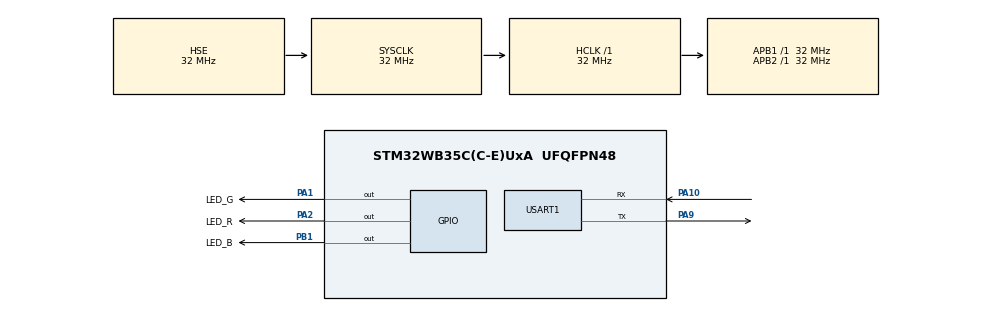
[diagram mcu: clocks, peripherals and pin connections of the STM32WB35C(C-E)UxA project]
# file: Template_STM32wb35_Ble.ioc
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Dma.Request0=USART1_TX
Dma.USART1_TX.0.Direction=DMA_MEMORY_TO_PERIPH
Dma.USART1_TX.0.EventEnable=DISABLE
Dma.USART1_TX.0.Instance=DMA1_Channel2
Dma.USART1_TX.0.MemDataAlignment=DMA_MDATAALIGN_BYTE
Dma.USART1_TX.0.MemInc=DMA_MINC_ENABLE
Dma.USART1_TX.0.Mode=DMA_NORMAL
Dma.USART1_TX.0.PeriphDataAlignment=DMA_PDATAALIGN_BYTE
Dma.USART1_TX.0.PeriphInc=DMA_PINC_DISABLE
Dma.USART1_TX.0.Polarity=HAL_DMAMUX_REQ_GEN_RISING
Dma.USART1_TX.0.Priority=DMA_PRIORITY_LOW
Dma.USART1_TX.0.RequestNumber=1
Dma.USART1_TX.0.SignalID=NONE
Dma.USART1_TX.0.SyncEnable=DISABLE
Dma.USART1_TX.0.SyncPolarity=HAL_DMAMUX_SYNC_NO_EVENT
Dma.USART1_TX.0.SyncRequestNumber=1
Dma.USART1_TX.0.SyncSignalID=NONE
Mcu.Family=STM32WB
Mcu.Name=STM32WB35C(C-E)UxA
Mcu.Package=UFQFPN48
NVIC.DMA1_Channel2_IRQn=true\:0\:0\:false\:false\:true\:false\:true
NVIC.HSEM_IRQn=true\:0\:0\:false\:false\:true\:false\:true
NVIC.PriorityGroup=NVIC_PRIORITYGROUP_4
NVIC.USART1_IRQn=true\:0\:0\:false\:false\:true\:true\:true
OSC_IN.Mode=HSE-External-Oscillator
OSC_IN.Signal=RCC_OSC_IN
OSC_OUT.Mode=HSE-External-Oscillator
OSC_OUT.Signal=RCC_OSC_OUT
PA1.GPIO_Label=LED_G
PA1.GPIO_PuPd=GPIO_PULLUP
PA1.Signal=GPIO_Output
PA10.Mode=Asynchronous
PA10.Signal=USART1_RX
PA13.Mode=Serial_Wire
PA13.Signal=SYS_JTMS-SWDIO
PA14.Mode=Serial_Wire
PA14.Signal=SYS_JTCK-SWCLK
PA2.GPIO_Label=LED_R
PA2.GPIO_PuPd=GPIO_PULLUP
PA2.Signal=GPIO_Output
PA9.Mode=Asynchronous
PA9.Signal=USART1_TX
PB1.GPIO_Label=LED_B
PB1.GPIO_PuPd=GPIO_PULLUP
PB1.Signal=GPIO_Output
PC14-OSC32_IN.Mode=LSE-External-Oscillator
PC14-OSC32_IN.Signal=RCC_OSC32_IN
PC15-OSC32_OUT.Mode=LSE-External-Oscillator
PC15-OSC32_OUT.Signal=RCC_OSC32_OUT
ProjectManager.HeapSize=0x200
ProjectManager.StackSize=0x400
ProjectManager.TargetToolchain=STM32CubeIDE
RCC.ADCFreq_Value=128000000
RCC.AHBFreq_Value=32000000
RCC.APB1Freq_Value=32000000
RCC.APB1TimFreq_Value=32000000
RCC.APB2Freq_Value=32000000
RCC.APB2TimFreq_Value=32000000
RCC.APB3Freq_Value=16000000
RCC.CortexFreq_Value=32000000
RCC.HCLKFreq_Value=32000000
RCC.HSE_VALUE=32000000
RCC.HSI48_VALUE=48000000
RCC.HSI_VALUE=16000000
RCC.MSIClockRange=RCC_MSIRANGE_10
RCC.PLLSourceVirtual=RCC_PLLSOURCE_HSE
RCC.RFWKPClockSelection=RCC_RFWKPCLKSOURCE_LSE
RCC.RTCClockSelection=RCC_RTCCLKSOURCE_LSE
RCC.SMPSCLockSelectionVirtual=RCC_SMPSCLKSOURCE_HSE
RCC.SYSCLKFreq_VALUE=32000000
RCC.SYSCLKSource=RCC_SYSCLKSOURCE_HSE
RCC.USBFreq_Value=128000000
RCC.VCOOutputFreq_Value=256000000
RF1.Mode=RF1_Activate
RF1.Signal=RF_RF1
STM32_WPAN.BLE_DBG_APP_EN=1
STM32_WPAN.BLE_DBG_P2P_STM_EN=1
STM32_WPAN.CFG_DEBUG_APP_TRACE=1
STM32_WPAN.CFG_DEBUG_BLE_TRACE=1
STM32_WPAN.CFG_DEBUG_TRACE_FULL=1
STM32_WPAN.CFG_DEBUG_TRACE_UART=hw_uart1
STM32_WPAN.CFG_HW_USART1_ENABLED=1
USART1.VirtualMode-Asynchronous=VM_ASYNC
VP_HSEM_VS_HSEM.Mode=HSEM_Activate
VP_RTC_VS_RTC_Activate.Mode=RTC_Enabled
VP_SEQUENCER_VS_SEQUENCER.Mode=SEQUENCER_Enabled
VP_STM32_WPAN_VS_BLE_HOST.Mode=STM32_WPAN_Enabled
VP_TINY_LPM_VS_TINY_LPM.Mode=TINY_LPM_Enabled
board=custom

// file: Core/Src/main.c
/* USER CODE BEGIN Header */
/**
  ******************************************************************************
  * @file           : main.c
  * @brief          : Main program body
  ******************************************************************************
  * @attention
  *
  * <h2><center>&copy; Copyright (c) 2021 STMicroelectronics.
  * All rights reserved.</center></h2>
  *
  * This software component is licensed by ST under BSD 3-Clause license,
  * the "License"; You may not use this file except in compliance with the
  * License. You may obtain a copy of the License at:
  *                        opensource.org/licenses/BSD-3-Clause
  *
  ******************************************************************************
  */
/* USER CODE END Header */
#include "main.h"
#include "dma.h"
#include "rf.h"
#include "rtc.h"
#include "app_entry.h"
#include "app_common.h"
#include "usart.h"
#include "gpio.h"

/* USER CODE BEGIN Includes */
#include "ble_hal_aci.h"
#include "stm32_seq.h"
#include "debug.h"
#include "usart.h"
#include "app_debug.h"
/* USER CODE END Includes */

void SystemClock_Config(void);

int main(void)
{

  /* MCU Configuration--------------------------------------------------------*/

  /* Reset of all peripherals, Initializes the Flash interface and the Systick. */
  HAL_Init();

  /* Configure the system clock */
  SystemClock_Config();

  /* Initialize all configured peripherals */
  MX_GPIO_Init();
  MX_DMA_Init();
  MX_RF_Init();
  MX_RTC_Init();
  MX_USART1_UART_Init();
  /* USER CODE BEGIN 2 */
  uint8_t str[] = "Start\n";
  HAL_UART_Transmit(&huart1, str, sizeof(str), 100);
  HAL_GPIO_WritePin(LED_G_GPIO_Port, LED_B_Pin, 1);
  HAL_GPIO_WritePin(LED_B_GPIO_Port, LED_B_Pin, 1);
  HAL_GPIO_WritePin(LED_R_GPIO_Port, LED_R_Pin, 1);
  HAL_Delay(500);
  HAL_GPIO_WritePin(LED_G_GPIO_Port, LED_B_Pin, 0);
  HAL_GPIO_WritePin(LED_B_GPIO_Port, LED_B_Pin, 0);
  HAL_GPIO_WritePin(LED_R_GPIO_Port, LED_R_Pin, 0);
  /* USER CODE END 2 */

  /* Init code for STM32_WPAN */
  APPE_Init();
  /* Infinite loop */
  /* USER CODE BEGIN WHILE */
  APPD_Init();
  printf("ELo\n");
  printVersionStack_FUS_WIFI();
  while (1)
  {
	 UTIL_SEQ_Run(~0);
    /* USER CODE END WHILE */

  }
}

void SystemClock_Config(void)
{
  RCC_OscInitTypeDef RCC_OscInitStruct = {0};
  RCC_ClkInitTypeDef RCC_ClkInitStruct = {0};
  RCC_PeriphCLKInitTypeDef PeriphClkInitStruct = {0};

  /** Configure LSE Drive Capability
  */
  HAL_PWR_EnableBkUpAccess();
  __HAL_RCC_LSEDRIVE_CONFIG(RCC_LSEDRIVE_LOW);
  /** Configure the main internal regulator output voltage
  */
  __HAL_PWR_VOLTAGESCALING_CONFIG(PWR_REGULATOR_VOLTAGE_SCALE1);
  /** Initializes the RCC Oscillators according to the specified parameters
  * in the RCC_OscInitTypeDef structure.
  */
  RCC_OscInitStruct.OscillatorType = RCC_OSCILLATORTYPE_HSI|RCC_OSCILLATORTYPE_HSE
                              |RCC_OSCILLATORTYPE_LSE;
  RCC_OscInitStruct.HSEState = RCC_HSE_ON;
  RCC_OscInitStruct.LSEState = RCC_LSE_ON;
  RCC_OscInitStruct.HSIState = RCC_HSI_ON;
  RCC_OscInitStruct.HSICalibrationValue = RCC_HSICALIBRATION_DEFAULT;
  RCC_OscInitStruct.PLL.PLLState = RCC_PLL_NONE;
  if (HAL_RCC_OscConfig(&RCC_OscInitStruct) != HAL_OK)
  {
    Error_Handler();
  }
  /** Configure the SYSCLKSource, HCLK, PCLK1 and PCLK2 clocks dividers
  */
  RCC_ClkInitStruct.ClockType = RCC_CLOCKTYPE_HCLK4|RCC_CLOCKTYPE_HCLK2
                              |RCC_CLOCKTYPE_HCLK|RCC_CLOCKTYPE_SYSCLK
                              |RCC_CLOCKTYPE_PCLK1|RCC_CLOCKTYPE_PCLK2;
  RCC_ClkInitStruct.SYSCLKSource = RCC_SYSCLKSOURCE_HSE;
  RCC_ClkInitStruct.AHBCLKDivider = RCC_SYSCLK_DIV1;
  RCC_ClkInitStruct.APB1CLKDivider = RCC_HCLK_DIV1;
  RCC_ClkInitStruct.APB2CLKDivider = RCC_HCLK_DIV1;
  RCC_ClkInitStruct.AHBCLK2Divider = RCC_SYSCLK_DIV1;
  RCC_ClkInitStruct.AHBCLK4Divider = RCC_SYSCLK_DIV1;

  if (HAL_RCC_ClockConfig(&RCC_ClkInitStruct, FLASH_LATENCY_1) != HAL_OK)
  {
    Error_Handler();
  }
  /** Initializes the peripherals clocks
  */
  PeriphClkInitStruct.PeriphClockSelection = RCC_PERIPHCLK_SMPS|RCC_PERIPHCLK_RFWAKEUP
                              |RCC_PERIPHCLK_RTC|RCC_PERIPHCLK_USART1;
  PeriphClkInitStruct.Usart1ClockSelection = RCC_USART1CLKSOURCE_PCLK2;
  PeriphClkInitStruct.RTCClockSelection = RCC_RTCCLKSOURCE_LSE;
  PeriphClkInitStruct.RFWakeUpClockSelection = RCC_RFWKPCLKSOURCE_LSE;
  PeriphClkInitStruct.SmpsClockSelection = RCC_SMPSCLKSOURCE_HSE;
  PeriphClkInitStruct.SmpsDivSelection = RCC_SMPSCLKDIV_RANGE0;
  if (HAL_RCCEx_PeriphCLKConfig(&PeriphClkInitStruct) != HAL_OK)
  {
    Error_Handler();
  }
}

void Error_Handler(void)
{
  __disable_irq();
  while (1)
  {
  }
}

/************************ (C) COPYRIGHT STMicroelectronics *****END OF FILE****/
